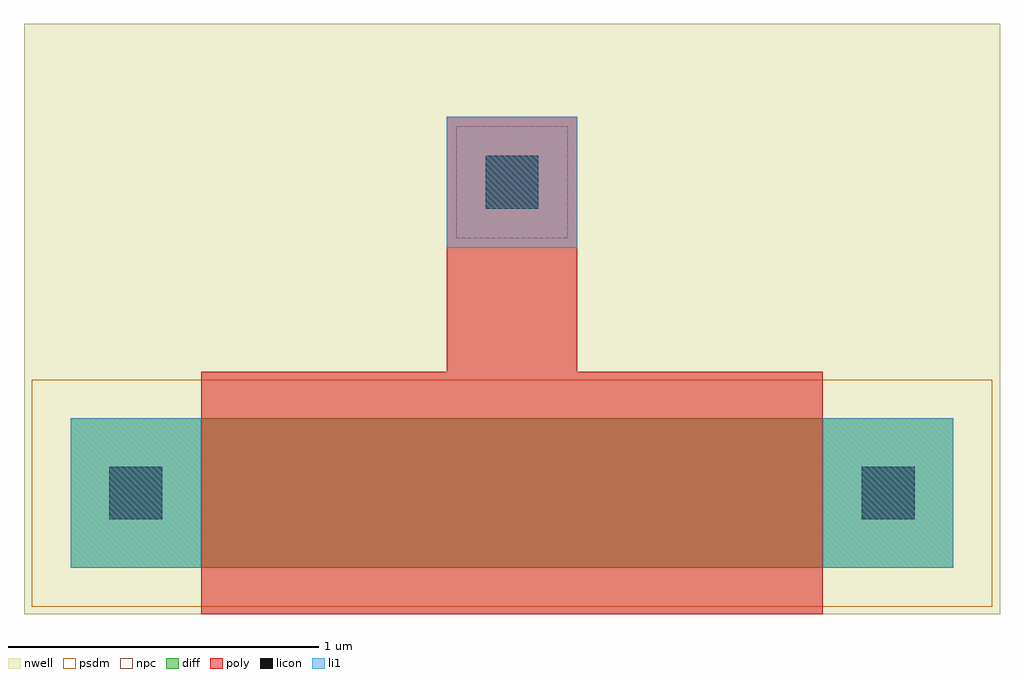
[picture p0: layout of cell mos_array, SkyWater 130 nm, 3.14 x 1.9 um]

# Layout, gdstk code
import gdstk
lib = gdstk.Library(unit=1e-6, precision=1e-09)
def R(c, l, rs):  # rectangles x0, y0, x1, y1
    for r in rs: c.add(gdstk.rectangle(r[:2], r[2:], *l))
nwell = (64, 20)
diff = (65, 20)
poly = (66, 20)
licon = (66, 44)
li1 = (67, 20)
psdm = (94, 20)
npc = (95, 20)

mos_array = lib.new_cell('mos_array')
R(mos_array, nwell, [(-0.15,-0.15,2.99,1.75)])
R(mos_array, diff, [(0,0,2.84,0.48)])
R(mos_array, poly, [(0.42,-0.15,2.42,0.48), (0.42,0.48,2.42,0.63), (0.42,0.48,2.42,0.63), (1.21,0.63,1.63,1.45)])
R(mos_array, licon, [(0.125,0.155,0.295,0.325), (2.545,0.155,2.715,0.325), (1.335,1.155,1.505,1.325)])
R(mos_array, li1, [(0,0,0.42,0.48), (2.42,0,2.84,0.48), (1.21,1.03,1.63,1.45)])
R(mos_array, psdm, [(-0.125,-0.125,2.965,0.605)])
R(mos_array, npc, [(1.24,1.06,1.6,1.42)])

lib.write_gds('mos_array.gds')
